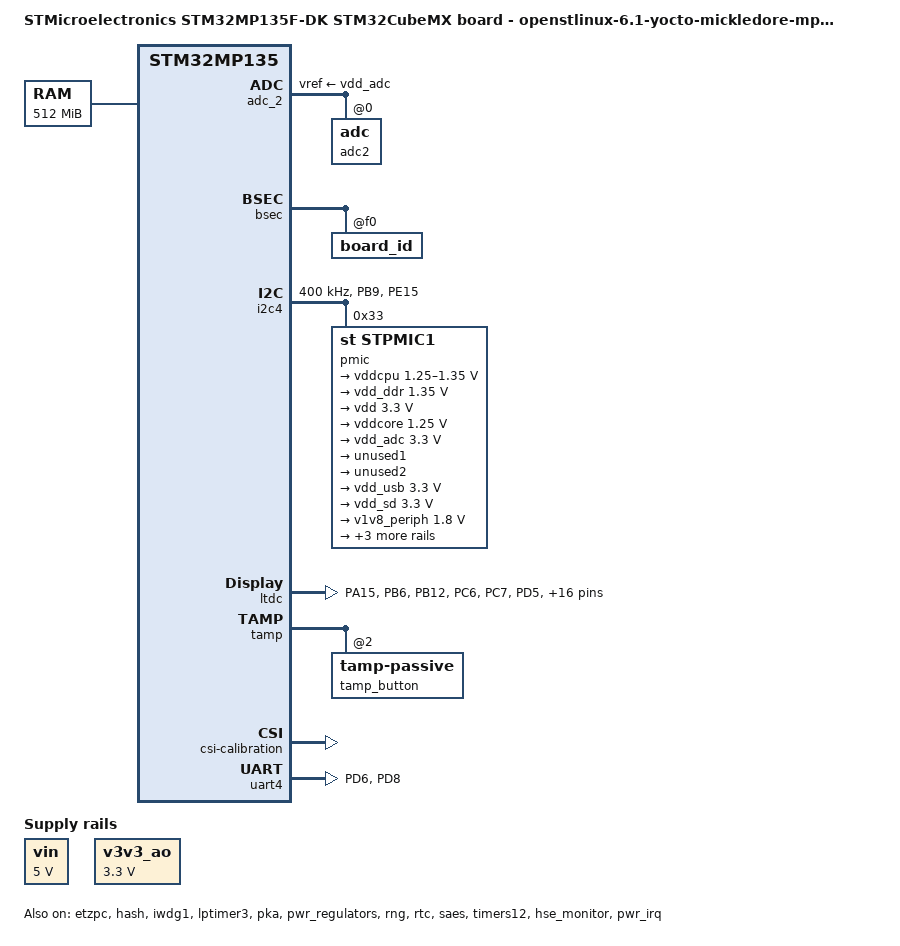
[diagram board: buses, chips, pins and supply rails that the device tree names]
// SPDX-License-Identifier: (GPL-2.0-or-later OR BSD-3-Clause)
/*
 * Copyright (C) 2024, STMicroelectronics - All Rights Reserved
 * Author: STM32CubeMX code generation for STMicroelectronics.
 */

/* For more information on Device Tree configuration, please refer to
 * https://wiki.st.com/stm32mpu/wiki/Category:Device_tree_configuration
 */

/dts-v1/;

#include <dt-bindings/pinctrl/stm32-pinfunc.h>
#include <dt-bindings/clock/stm32mp13-clksrc.h>

#include <dt-bindings/soc/stm32mp13-etzpc.h>
#include "stm32mp135.dtsi"
#include "stm32mp13xf.dtsi"

/* USER CODE BEGIN includes */
#include <dt-bindings/mfd/st,stpmic1.h>
#include <dt-bindings/power/stm32mp1-power.h>
#include <dt-bindings/random/stm32mp-rng.h>
#include <dt-bindings/regulator/st,stm32mp13-regulator.h>
#include <dt-bindings/soc/stm32mp-provisioning.h>
#include <dt-bindings/soc/stm32mp-tzc400-macro.h>
#include <dt-bindings/soc/stm32mp13-tzc400.h>
#include <dt-bindings/tamper/st,stm32mp13-tamp.h>
#include "stm32mp13-pinctrl.dtsi"
/* USER CODE END includes */

/ {
	model = "STMicroelectronics STM32MP135F-DK STM32CubeMX board - openstlinux-6.1-yocto-mickledore-mpu-v24.06.26";
	compatible = "st,stm32mp135f-dk-mx", "st,stm32mp135f-dk", "st,stm32mp135";

	memory@c0000000 {
		device_type = "memory";
		reg = <0xc0000000 0x20000000>;

		/* USER CODE BEGIN memory */
		/* USER CODE END memory */
	};

	reserved-memory {
		#address-cells = <1>;
		#size-cells = <1>;
		ranges;

		/* USER CODE BEGIN reserved-memory */

		optee_framebuffer:optee-framebuffer@dd000000{
			reg = <0xdd000000 0x1000000>;
			st,protreg = <TZC_REGION_S_RDWR 0>;
		};
		/* USER CODE END reserved-memory */
	};

	/* USER CODE BEGIN root */

	aliases{
		serial0 = &uart4;
		serial1 = &usart1;
	};

	chosen{
		stdout-path = "serial0:115200n8";
	};

	magic_wol:magic_wol{
		compatible = "st,stm32mp1-pwr-irq-user";
		wakeup-parent = <&pwr_irq>;
		st,wakeup-pin-number = <2>;
		status = "okay";
	};

	shadow-prov{
		compatible = "st,provisioning";

		hw2_prov{
			nvmem-cells = <&hw2_otp>;
			st,shadow-value = <0x000001E0>;
			st,shadow-lock = <STICKY_LOCK_SR>;
		};
	};

	vin:vin{
		compatible = "regulator-fixed";
		regulator-name = "vin";
		regulator-min-microvolt = <5000000>;
		regulator-max-microvolt = <5000000>;
		regulator-always-on;
	};

	v3v3_ao:v3v3_ao{
		compatible = "regulator-fixed";
		regulator-name = "v3v3_ao";
		regulator-min-microvolt = <3300000>;
		regulator-max-microvolt = <3300000>;
		regulator-always-on;
	};

	typec_wakeup:typec_wakeup{
		compatible = "st,stm32mp1-pwr-irq-user";
		wakeup-parent = <&pwr_irq>;
		st,wakeup-pin-number = <5>;
		st,notif-it-id = <1>;
		status = "okay";
	};
	/* USER CODE END root */

	clocks {
		/* USER CODE BEGIN clocks */
		/* USER CODE END clocks */

		clk_hsi: clk-hsi {
			clock-frequency = <64000000>;

			/* USER CODE BEGIN clk_hsi */
			/* USER CODE END clk_hsi */
		};
		clk_lse: clk-lse {
			clock-frequency = <32768>;
			st,drive = < LSEDRV_MEDIUM_HIGH >;

			/* USER CODE BEGIN clk_lse */
			/* USER CODE END clk_lse */
		};
		clk_hse: clk-hse {
			clock-frequency = <24000000>;

			/* USER CODE BEGIN clk_hse */
			/* USER CODE END clk_hse */
		};
		clk_i2sin: clk-i2sin {
			status = "disabled";

			/* USER CODE BEGIN clk_i2sin */
			/* USER CODE END clk_i2sin */
		};
	};

}; /*root*/

/*Warning: the configuration of the secured GPIOs should be added in (addons) User Section*/
&pinctrl {
	i2c4_pins_mx: i2c4_mx-0 {
		pins {
			pinmux = <STM32_PINMUX('B', 9, AF6)>, /* I2C4_SDA */
					 <STM32_PINMUX('E', 15, AF6)>; /* I2C4_SCL */
			bias-disable;
			drive-open-drain;
			slew-rate = <0>;
		};
	};

	ltdc_pins_mx: ltdc_mx-0 {
		pins {
			pinmux = <STM32_PINMUX('A', 15, AF11)>, /* LTDC_G7 */
					 <STM32_PINMUX('B', 6, AF7)>, /* LTDC_B6 */
					 <STM32_PINMUX('B', 12, AF13)>, /* LTDC_R3 */
					 <STM32_PINMUX('C', 6, AF14)>, /* LTDC_HSYNC */
					 <STM32_PINMUX('C', 7, AF14)>, /* LTDC_G6 */
					 <STM32_PINMUX('D', 5, AF14)>, /* LTDC_G4 */
					 <STM32_PINMUX('D', 9, AF13)>, /* LTDC_CLK */
					 <STM32_PINMUX('D', 10, AF14)>, /* LTDC_B2 */
					 <STM32_PINMUX('D', 14, AF14)>, /* LTDC_R4 */
					 <STM32_PINMUX('E', 0, AF14)>, /* LTDC_B5 */
					 <STM32_PINMUX('E', 7, AF14)>, /* LTDC_R5 */
					 <STM32_PINMUX('E', 9, AF14)>, /* LTDC_R7 */
					 <STM32_PINMUX('E', 13, AF14)>, /* LTDC_R6 */
					 <STM32_PINMUX('F', 1, AF13)>, /* LTDC_B7 */
					 <STM32_PINMUX('F', 2, AF14)>, /* LTDC_B3 */
					 <STM32_PINMUX('F', 3, AF14)>, /* LTDC_G3 */
					 <STM32_PINMUX('G', 0, AF14)>, /* LTDC_G5 */
					 <STM32_PINMUX('G', 4, AF11)>, /* LTDC_VSYNC */
					 <STM32_PINMUX('G', 7, AF14)>, /* LTDC_R2 */
					 <STM32_PINMUX('H', 9, AF11)>, /* LTDC_DE */
					 <STM32_PINMUX('H', 13, AF14)>, /* LTDC_G2 */
					 <STM32_PINMUX('H', 14, AF11)>; /* LTDC_B4 */
			bias-disable;
			drive-push-pull;
			slew-rate = <0>;
		};
	};

	rcc_pins_mx: rcc_mx-0 {
		pins1 {
			pinmux = <STM32_PINMUX('C', 14, ANALOG)>, /* RCC_OSC32_IN */
					 <STM32_PINMUX('C', 15, ANALOG)>, /* RCC_OSC32_OUT */
					 <STM32_PINMUX('H', 0, ANALOG)>, /* RCC_OSC_IN */
					 <STM32_PINMUX('H', 1, ANALOG)>; /* RCC_OSC_OUT */
		};
		pins2 {
			pinmux = <STM32_PINMUX('D', 7, AF0)>; /* RCC_MCO_1 */
			bias-disable;
			drive-push-pull;
			slew-rate = <1>;
		};
	};

	rtc_pins_mx: rtc_mx-0 {
		pins {
			pinmux = <STM32_PINMUX('I', 1, ANALOG)>; /* RTC_OUT2 */
		};
	};

	/* USER CODE BEGIN pinctrl */

	tamp0_in2_pin_a: tamp0_in2_pin_0 {
		pins {
			pinmux = <STM32_PINMUX('A', 6, RSVD)>;
			st,tamp_id = <2>;
		};
	};
	
	uart4_pins_a: uart4-0 {
		pins1 {
			pinmux = <STM32_PINMUX('D', 6, AF8)>; /* UART4_TX */
			bias-disable;
			drive-push-pull;
			slew-rate = <0>;
		};
		pins2 {
			pinmux = <STM32_PINMUX('D', 8, AF8)>; /* UART4_RX */
			bias-disable;
		};
	};
	
	wakeup_pins: wakeup_pins {
		wakeup_pin_1: pins1 {
			pinmux = <STM32_PINMUX('F', 8, GPIO)>;
		};
		wakeup_pin_2: pins2 {
			pinmux = <STM32_PINMUX('I', 3, GPIO)>;
		};
		wakeup_pin_3: pins3 {
			pinmux = <STM32_PINMUX('C', 13, GPIO)>;
		};
		wakeup_pin_4: pins4 {
			pinmux = <STM32_PINMUX('I', 1, GPIO)>;
		};
		wakeup_pin_5: pins5 {
			pinmux = <STM32_PINMUX('I', 2, GPIO)>;
		};
		wakeup_pin_6: pins6 {
			pinmux = <STM32_PINMUX('A', 3, GPIO)>;
		};
	};
	/* USER CODE END pinctrl */
};

&adc_2{
	status = "okay";

	/* USER CODE BEGIN adc_2 */
	vdda-supply = <&vdd_adc>;
	vref-supply = <&vdd_adc>;

	adc2:adc@0{
		status = "okay";

		channel@15{
			reg = <15>;
			label = "vbat";
		};
	};
	/* USER CODE END adc_2 */
};

&bsec{
	status = "okay";

	/* USER CODE BEGIN bsec */

	board_id:board_id@f0{
		reg = <0xf0 0x4>;
		st,non-secure-otp;
	};
	/* USER CODE END bsec */
};

&etzpc{
	status = "okay";
	st,decprot = <
	/*"Non Secured" peripherals*/
	DECPROT(STM32MP1_ETZPC_ADC1_ID, DECPROT_NS_RW, DECPROT_UNLOCK)
	DECPROT(STM32MP1_ETZPC_CRYP_ID, DECPROT_NS_RW, DECPROT_UNLOCK)
	DECPROT(STM32MP1_ETZPC_DCMIPP_ID, DECPROT_NS_RW, DECPROT_UNLOCK)
	DECPROT(STM32MP1_ETZPC_ETH1_ID, DECPROT_NS_RW, DECPROT_UNLOCK)
	DECPROT(STM32MP1_ETZPC_ETH2_ID, DECPROT_NS_RW, DECPROT_UNLOCK)
	DECPROT(STM32MP1_ETZPC_I2C5_ID, DECPROT_NS_RW, DECPROT_UNLOCK)
	DECPROT(STM32MP1_ETZPC_LTDC_ID, DECPROT_NS_RW, DECPROT_UNLOCK)
	DECPROT(STM32MP1_ETZPC_SDMMC1_ID, DECPROT_NS_RW, DECPROT_UNLOCK)
	DECPROT(STM32MP1_ETZPC_SDMMC2_ID, DECPROT_NS_RW, DECPROT_UNLOCK)
	DECPROT(STM32MP1_ETZPC_USART2_ID, DECPROT_NS_RW, DECPROT_UNLOCK)
	DECPROT(STM32MP1_ETZPC_OTG_ID, DECPROT_NS_RW, DECPROT_UNLOCK)
	DECPROT(STM32MP1_ETZPC_USBPHYCTRL_ID, DECPROT_NS_RW, DECPROT_UNLOCK)
	/*"NS_R S_W" peripherals*/
	DECPROT(STM32MP1_ETZPC_DDRCTRLPHY_ID, DECPROT_NS_R_S_W, DECPROT_LOCK)
	/*"Secured" peripherals*/
	DECPROT(STM32MP1_ETZPC_ADC2_ID, DECPROT_S_RW, DECPROT_UNLOCK)
	DECPROT(STM32MP1_ETZPC_HASH_ID, DECPROT_S_RW, DECPROT_UNLOCK)
	DECPROT(STM32MP1_ETZPC_I2C4_ID, DECPROT_S_RW, DECPROT_UNLOCK)
	DECPROT(STM32MP1_ETZPC_IWDG1_ID, DECPROT_S_RW, DECPROT_UNLOCK)
	DECPROT(STM32MP1_ETZPC_LPTIM3_ID, DECPROT_S_RW, DECPROT_UNLOCK)
	DECPROT(STM32MP1_ETZPC_PKA_ID, DECPROT_S_RW, DECPROT_UNLOCK)
	DECPROT(STM32MP1_ETZPC_RNG_ID, DECPROT_S_RW, DECPROT_UNLOCK)
	DECPROT(STM32MP1_ETZPC_SAES_ID, DECPROT_S_RW, DECPROT_UNLOCK)
	DECPROT(STM32MP1_ETZPC_TIM12_ID, DECPROT_S_RW, DECPROT_UNLOCK)
	DECPROT(STM32MP1_ETZPC_STGENC_ID, DECPROT_S_RW, DECPROT_UNLOCK)

	/*Restriction: following IDs are not managed  - please to use User-Section if needed:
		  STM32MP1_ETZPC_SRAMx_ID  STM32MP1_ETZPC_BKPSRAM_ID*/

	/* USER CODE BEGIN etzpc_decprot */
		/*STM32CubeMX generates a basic and standard configuration for ETZPC.
		Additional device configurations can be added here if needed.
		"etzpc" node could be also overloaded in "addons" User-Section.*/
	/* USER CODE END etzpc_decprot */
	>;

	/* USER CODE BEGIN etzpc */
	/* USER CODE END etzpc */
};

&hash{
	status = "okay";

	/* USER CODE BEGIN hash */
	/* USER CODE END hash */
};

&i2c4{
	pinctrl-names = "default";
	pinctrl-0 = <&i2c4_pins_mx>;
	status = "okay";

	/* USER CODE BEGIN i2c4 */
	i2c-scl-rising-time-ns = <185>;
	i2c-scl-falling-time-ns = <20>;
	clock-frequency = <400000>;

	pmic:stpmic@33{
		compatible = "st,stpmic1";
		reg = <0x33>;
		status = "okay";
		wakeup-parent = <&pwr_irq>;
		st,wakeup-pin-number = <1>;
		st,pmic-it-id = <IT_PONKEY_F IT_PONKEY_R>;
		st,notif-it-id = <0 2>;

		regulators{
			compatible = "st,stpmic1-regulators";
			buck1-supply = <&vin>;
			buck2-supply = <&vin>;
			buck3-supply = <&vin>;
			buck4-supply = <&vin>;
			ldo1-supply = <&vin>;
			ldo4-supply = <&vin>;
			ldo5-supply = <&vin>;
			ldo6-supply = <&vin>;
			vref_ddr-supply = <&vin>;
			pwr_sw1-supply = <&bst_out>;
			pwr_sw2-supply = <&v3v3_ao>;

			vddcpu:buck1{
				regulator-name = "vddcpu";
				regulator-min-microvolt = <1250000>;
				regulator-max-microvolt = <1350000>;
				regulator-always-on;
				regulator-over-current-protection;

				lp-stop{
					regulator-suspend-microvolt = <1250000>;
				};

				lplv-stop{
					regulator-suspend-microvolt = <900000>;
				};

				lplv-stop2{
					regulator-off-in-suspend;
				};

				standby-ddr-sr{
					regulator-off-in-suspend;
				};

				standby-ddr-off{
					regulator-off-in-suspend;
				};
			};

			vdd_ddr:buck2{
				regulator-name = "vdd_ddr";
				regulator-min-microvolt = <1350000>;
				regulator-max-microvolt = <1350000>;
				regulator-always-on;
				regulator-over-current-protection;

				standby-ddr-off{
					regulator-off-in-suspend;
				};
			};

			vdd:buck3{
				regulator-name = "vdd";
				regulator-min-microvolt = <3300000>;
				regulator-max-microvolt = <3300000>;
				regulator-always-on;
				st,mask-reset;
				regulator-over-current-protection;
			};

			vddcore:buck4{
				regulator-name = "vddcore";
				regulator-min-microvolt = <1250000>;
				regulator-max-microvolt = <1250000>;
				regulator-always-on;
				regulator-over-current-protection;

				lplv-stop{
					regulator-suspend-microvolt = <900000>;
				};

				lplv-stop2{
					regulator-suspend-microvolt = <900000>;
				};

				standby-ddr-sr{
					regulator-off-in-suspend;
				};

				standby-ddr-off{
					regulator-off-in-suspend;
				};
			};

			vdd_adc:ldo1{
				regulator-name = "vdd_adc";
				regulator-min-microvolt = <3300000>;
				regulator-max-microvolt = <3300000>;

				standby-ddr-sr{
					regulator-off-in-suspend;
				};

				standby-ddr-off{
					regulator-off-in-suspend;
				};
			};

			unused1:ldo2{
				regulator-name = "ldo2";
			};

			unused2:ldo3{
				regulator-name = "ldo3";
			};

			vdd_usb:ldo4{
				regulator-name = "vdd_usb";
				regulator-min-microvolt = <3300000>;
				regulator-max-microvolt = <3300000>;

				standby-ddr-sr{
					regulator-off-in-suspend;
				};

				standby-ddr-off{
					regulator-off-in-suspend;
				};
			};

			vdd_sd:ldo5{
				regulator-name = "vdd_sd";
				regulator-min-microvolt = <3300000>;
				regulator-max-microvolt = <3300000>;
				regulator-boot-on;

				standby-ddr-sr{
					regulator-off-in-suspend;
				};

				standby-ddr-off{
					regulator-off-in-suspend;
				};
			};

			v1v8_periph:ldo6{
				regulator-name = "v1v8_periph";
				regulator-min-microvolt = <1800000>;
				regulator-max-microvolt = <1800000>;

				standby-ddr-sr{
					regulator-off-in-suspend;
				};

				standby-ddr-off{
					regulator-off-in-suspend;
				};
			};

			vref_ddr:vref_ddr{
				regulator-name = "vref_ddr";
				regulator-always-on;

				standby-ddr-sr{
					regulator-off-in-suspend;
				};

				standby-ddr-off{
					regulator-off-in-suspend;
				};
			};

			bst_out:boost{
				regulator-name = "bst_out";
			};

			v3v3_sw:pwr_sw2{
				regulator-name = "v3v3_sw";
				regulator-active-discharge = <1>;
				regulator-min-microvolt = <3300000>;
				regulator-max-microvolt = <3300000>;
			};
		};
	};
	/* USER CODE END i2c4 */
};

&iwdg1{
	status = "okay";

	/* USER CODE BEGIN iwdg1 */
	timeout-sec = <32>;
	/* USER CODE END iwdg1 */
};

&lptimer3{
	status = "okay";

	/* USER CODE BEGIN lptimer3 */

	counter{
		status = "okay";
	};
	/* USER CODE END lptimer3 */
};

&ltdc{
	pinctrl-names = "default";
	pinctrl-0 = <&ltdc_pins_mx>;
	status = "okay";

	/* USER CODE BEGIN ltdc */
	/* USER CODE END ltdc */
};

&pka{
	status = "okay";

	/* USER CODE BEGIN pka */
	/* USER CODE END pka */
};

&pwr_regulators{
	status = "okay";

	/* USER CODE BEGIN pwr_regulators */
	system_suspend_supported_soc_modes = <
		STM32_PM_CSLEEP_RUN
		STM32_PM_CSTOP_ALLOW_LP_STOP
		STM32_PM_CSTOP_ALLOW_LPLV_STOP
		STM32_PM_CSTOP_ALLOW_LPLV_STOP2
		STM32_PM_CSTOP_ALLOW_STANDBY_DDR_SR
	>;
	system_off_soc_mode = <STM32_PM_SHUTDOWN>;
	vdd-supply = <&vdd>;
	vdd_3v3_usbfs-supply = <&vdd_usb>;
	/* USER CODE END pwr_regulators */
};

&rcc{
	status = "okay";
	clocks = <&clk_hse>, <&clk_hsi>, <&clk_lse>, <&clk_lsi>, <&clk_csi>;
	clock-names = "clk-hse", "clk-hsi", "clk-lse", "clk-lsi", "clk-csi";

	/* USER CODE BEGIN rcc */
	/* USER CODE END rcc */

	st,clksrc = <
		CLK_MPU_PLL1P
		CLK_AXI_PLL2P
		CLK_MLAHBS_PLL3
		CLK_RTC_LSE
		CLK_MCO1_HSE
		CLK_MCO2_DISABLED
		CLK_CKPER_HSE
		CLK_ETH1_PLL4P
		CLK_ETH2_PLL4P
		CLK_SDMMC1_PLL4P
		CLK_SDMMC2_PLL4P
		CLK_STGEN_HSE
		CLK_USBPHY_HSE
		CLK_I2C4_HSI
		CLK_USBO_USBPHY
		CLK_ADC1_CKPER
		CLK_ADC2_CKPER
		CLK_I2C12_HSI
		CLK_I2C5_HSI
		CLK_UART2_HSI
		CLK_UART4_HSI
		CLK_RNG1_PLL4R
		CLK_SAES_AXI
		CLK_DCMIPP_PLL2Q
		CLK_LPTIM3_PCLK3
	>;
	st,clkdiv = <
		DIV(DIV_MPU, 1)
		DIV(DIV_AXI, 0)
		DIV(DIV_MLAHB, 0)
		DIV(DIV_APB1, 1)
		DIV(DIV_APB2, 1)
		DIV(DIV_APB3, 1)
		DIV(DIV_APB4, 1)
		DIV(DIV_APB5, 2)
		DIV(DIV_APB6, 1)
		DIV(DIV_RTC, 0)
		DIV(DIV_MCO1, 0)
		DIV(DIV_MCO2, 0)
	>;
	st,pll_vco {
		pll1_vco_1300Mhz: pll1-vco-1300Mhz {
			src = < CLK_PLL12_HSE >;
			divmn = < 2 80 >;
			frac = < 0x800 >;
		};
		pll2_vco_1066Mhz: pll2-vco-1066Mhz {
			src = < CLK_PLL12_HSE >;
			divmn = < 2 65 >;
			frac = < 0x1400 >;
		};
		pll3_vco_417Mhz: pll3-vco-417Mhz {
			src = < CLK_PLL3_HSE >;
			divmn = < 1 33 >;
			frac = < 0x1a04 >;
		};
		pll4_vco_600Mhz: pll4-vco-600Mhz {
			src = < CLK_PLL4_HSE >;
			divmn = < 1 49 >;
		};
		/* USER CODE BEGIN rcc_st-pll_vco */

		pll1_vco_2000Mhz:pll1-vco-2000Mhz{
			src = <CLK_PLL12_HSE>;
			divmn = <1 82>;
			frac = <0xAAA>;
		};
		/* USER CODE END rcc_st-pll_vco */
	};

	pll1:st,pll@0 {
		compatible = "st,stm32mp1-pll";
		reg = <0>;

		st,pll = < &pll1_cfg1 >;

		pll1_cfg1: pll1_cfg1 {
			st,pll_vco = < &pll1_vco_1300Mhz >;
			st,pll_div_pqr = < 0 1 1 >;
		};
		/* USER CODE BEGIN pll1 */

		pll1_cfg2:pll1_cfg2{
			st,pll_vco = <&pll1_vco_2000Mhz>;
			st,pll_div_pqr = <0 1 1>;
		};
		/* USER CODE END pll1 */
	};

	pll2:st,pll@1 {
		compatible = "st,stm32mp1-pll";
		reg = <1>;

		st,pll = < &pll2_cfg1 >;

		pll2_cfg1: pll2_cfg1 {
			st,pll_vco = < &pll2_vco_1066Mhz >;
			st,pll_div_pqr = < 1 1 0 >;
		};
		/* USER CODE BEGIN pll2 */
		/* USER CODE END pll2 */
	};

	pll3:st,pll@2 {
		compatible = "st,stm32mp1-pll";
		reg = <2>;

		st,pll = < &pll3_cfg1 >;

		pll3_cfg1: pll3_cfg1 {
			st,pll_vco = < &pll3_vco_417Mhz >;
			st,pll_div_pqr = < 1 16 36 >;
		};
		/* USER CODE BEGIN pll3 */
		/* USER CODE END pll3 */
	};

	pll4:st,pll@3 {
		compatible = "st,stm32mp1-pll";
		reg = <3>;

		st,pll = < &pll4_cfg1 >;

		pll4_cfg1: pll4_cfg1 {
			st,pll_vco = < &pll4_vco_600Mhz >;
			st,pll_div_pqr = < 11 59 11 >;
		};
		/* USER CODE BEGIN pll4 */
		/* USER CODE END pll4 */
	};

	st,clk_opp {
		/* CK_MPU clock config for MP13 */
		st,ck_mpu {

			cfg_1 {
				hz = < 650000000 >;
				st,clksrc = < CLK_MPU_PLL1P >;
				st,pll = < &pll1_cfg1 >;
			};
			/* USER CODE BEGIN rcc_st-ck_mpu */
			cfg_2 {
				hz = < 1000000000 >;
				st,clksrc = < CLK_MPU_PLL1P >;
				st,pll = < &pll1_cfg2 >;
			};
			/* USER CODE END rcc_st-ck_mpu */
		};

		/* CK_AXI clock config for MP13 */
		st,ck_axi {

			cfg_1 {
				hz = < 266500000 >;
				st,clksrc = < CLK_AXI_PLL2P >;
				st,clkdiv = < DIV(DIV_AXI, 0) >;
				st,pll = < &pll2_cfg1 >;
			};
			/* USER CODE BEGIN rcc_st-ck_axi */
			/* USER CODE END rcc_st-ck_axi */
		};

		/* CK_MLAHBS clock config for MP13 */
		st,ck_mlahbs {

			cfg_1 {
				hz = < 208877929 >;
				st,clksrc = < CLK_MLAHBS_PLL3 >;
				st,clkdiv = < DIV(DIV_MLAHB, 0) >;
				st,pll = < &pll3_cfg1 >;
			};

			/* USER CODE BEGIN rcc_st-ck_mlahbs */
			/* USER CODE END rcc_st-ck_mlahbs */
		};
	};

	/* USER CODE BEGIN rcc */
	/* USER CODE END rcc */

	st,rcc{
		pinctrl-names = "default";
		pinctrl-0 = <&rcc_pins_mx>;
		status = "okay";

		/* USER CODE BEGIN rcc_st-rcc */
		compatible = "st,rcc";
		/* USER CODE END rcc_st-rcc */
	};
};

&rng{
	status = "okay";

	/* USER CODE BEGIN rng */
	clock-error-detect;
	/* USER CODE END rng */
};

&rtc{
	pinctrl-names = "default";
	pinctrl-0 = <&rtc_pins_mx>;
	status = "okay";

	/* USER CODE BEGIN rtc */
	/* USER CODE END rtc */
};

&saes{
	status = "okay";

	/* USER CODE BEGIN saes */
	/* USER CODE END saes */
};

&tamp{
	status = "okay";

	/* USER CODE BEGIN tamp */
	st,tamp-passive-nb-sample = <4>;
	st,tamp-passive-sample-clk-div = <16384>;
	wakeup-source;
	wakeup-parent = <&exti>;

	tamp_button:tamp-passive@2{
		status = "okay";
		reg = <EXT_TAMPER_2 0>;
		pinctrl-0 = <&tamp0_in2_pin_a>;
		st,tamp-mode = <TAMPER_CONFIRMED_MODE>;
	};

	tamp-active@3{
		pinctrl-0 = <&tamp0_in3_pin_a &tamp0_out1_pin_a>;
		reg = <EXT_TAMPER_3 0>;
		st,tamp-mode = <TAMPER_POTENTIAL_MODE>;
		status = "disabled";
	};
	/* USER CODE END tamp */
};

&timers12{
	status = "okay";

	/* USER CODE BEGIN timers12 */

	counter{
		status = "okay";
	};
	/* USER CODE END timers12 */
};

/* USER CODE BEGIN addons */

&cpu0{
	cpu-supply = <&vddcpu>;
};

&gpiob{
	st,protreg = < (TZPROT(9)) >;
};

&gpiod{
	st,protreg = < (TZPROT(7)) >;
};

&gpioe{
	st,protreg = < (TZPROT(15)) >;
};

&gpioi{
	st,protreg = < (TZPROT(2)|TZPROT(3)) >;
};

&hse_monitor{
	status = "okay";
};

&oem_enc_key{
	st,non-secure-otp-provisioning;
};

&osc_calibration{

	csi-calibration{
		status = "okay";
	};

	hsi-calibration{
		status = "okay";
	};
};

&pwr_irq{
	pinctrl-names = "default";
	pinctrl-0 = <&wakeup_pins>;
	status = "okay";
};

&scmi_regu{

	scmi_vddcpu:voltd-vddcpu{
		reg = <VOLTD_SCMI_STPMIC1_BUCK1>;
		voltd-supply = <&vddcpu>;
	};

	scmi_vdd:voltd-vdd{
		reg = <VOLTD_SCMI_STPMIC1_BUCK3>;
		voltd-supply = <&vdd>;
	};

	scmi_vddcore:voltd-vddcore{
		reg = <VOLTD_SCMI_STPMIC1_BUCK4>;
		voltd-supply = <&vddcore>;
	};

	scmi_vdd_adc:voltd-vdd_adc{
		reg = <VOLTD_SCMI_STPMIC1_LDO1>;
		voltd-supply = <&vdd_adc>;
	};

	scmi_vdd_usb:voltd-vdd_usb{
		reg = <VOLTD_SCMI_STPMIC1_LDO4>;
		voltd-supply = <&vdd_usb>;
	};

	scmi_vdd_sd:voltd-vdd_sd{
		reg = <VOLTD_SCMI_STPMIC1_LDO5>;
		voltd-supply = <&vdd_sd>;
	};

	scmi_v1v8_periph:voltd-v1v8_periph{
		reg = <VOLTD_SCMI_STPMIC1_LDO6>;
		voltd-supply = <&v1v8_periph>;
	};

	scmi_v3v3_sw:voltd-v3v3_sw{
		reg = <VOLTD_SCMI_STPMIC1_PWR_SW2>;
		voltd-supply = <&v3v3_sw>;
	};
};

&sdmmc1_io{
	vddsd1-supply = <&vdd>;
};

&sdmmc2_io{
	vddsd2-supply = <&vdd>;
};

&tzc400{
	memory-region = <&optee_framebuffer>;
};

&uart4{
	pinctrl-names = "default";
	pinctrl-0 = <&uart4_pins_a>;
	status = "okay";
};

&wakeup_pin_5{
	bias-pull-up;
};
/* USER CODE END addons */

